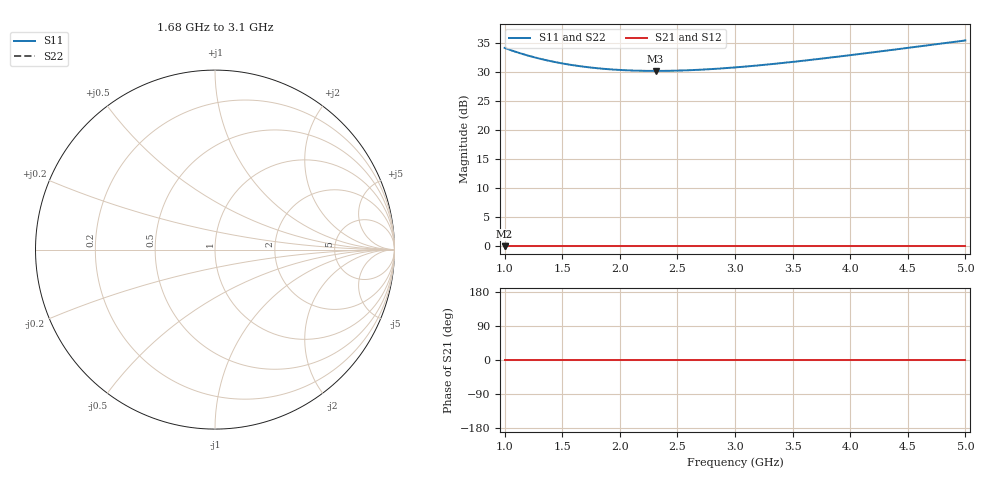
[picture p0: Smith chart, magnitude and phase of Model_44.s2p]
# GHZ S RI R 50
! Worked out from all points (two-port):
!   401 points, 1 GHz to 5 GHz, reference 50 ohm
!   highest |S21| = 0.00 dB at 1 GHz (marker M1); lowest = 0.0 dB at 1 GHz (marker M2)
!   |S21| within 3 dB of the highest: start of sweep to end of sweep
!   lowest |S11| = 30.2 dB at 2.31 GHz (marker M3)
!   |S11| at or under -10 dB: nowhere
!   |S22| runs from 30.2 to 35.5 dB; largest |S21 - S12| = 0
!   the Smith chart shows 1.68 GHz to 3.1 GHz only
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1  51.32 0  1 0  1 0  51.32 0
1.15  45.68 0  1 0  1 0  45.68 0
1.22  43.61 0  1 0  1 0  43.61 0
1.3  41.58 0  1 0  1 0  41.58 0
1.38  39.85 0  1 0  1 0  39.85 0
1.47  38.22 0  1 0  1 0  38.22 0
1.57  36.73 0  1 0  1 0  36.73 0
1.67  35.52 0  1 0  1 0  35.52 0
1.82  34.17 0  1 0  1 0  34.17 0
1.97  33.27 0  1 0  1 0  33.27 0
2.14  32.69 0  1 0  1 0  32.69 0
2.31  32.51 0  1 0  1 0  32.51 0
2.34  32.51 0  1 0  1 0  32.51 0
2.5  32.7 0  1 0  1 0  32.7 0
2.66  33.15 0  1 0  1 0  33.15 0
3  34.84 0  1 0  1 0  34.84 0
3.33  37.32 0  1 0  1 0  37.32 0
3.67  40.61 0  1 0  1 0  40.61 0
4  44.45 0  1 0  1 0  44.45 0
4.34  49.02 0  1 0  1 0  49.02 0
4.63  53.38 0  1 0  1 0  53.38 0
5  59.54 0  1 0  1 0  59.54 0
